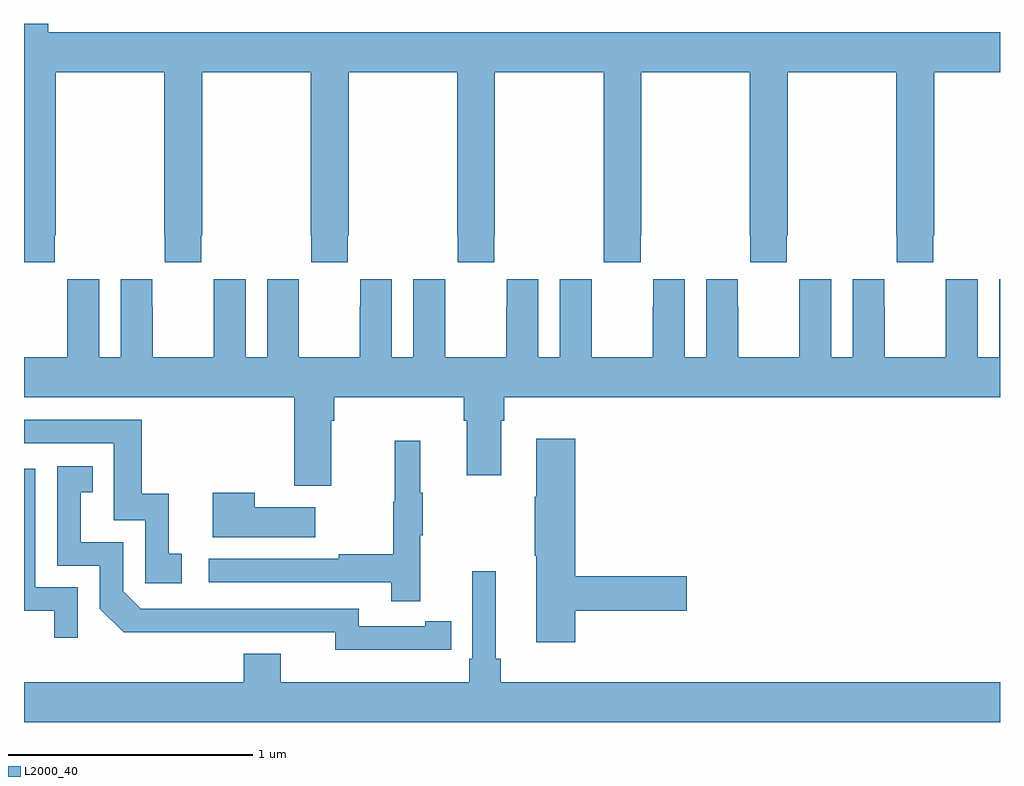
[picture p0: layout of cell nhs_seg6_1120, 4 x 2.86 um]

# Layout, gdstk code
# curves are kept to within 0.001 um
import gdstk
lib = gdstk.Library(unit=1e-6, precision=1e-09)
def P(c, l, *ps):  # polygons
    for p in ps: c.add(gdstk.Polygon(p, *l))
L2000_40 = (2000, 40)

nhs_seg6_1120 = lib.new_cell('nhs_seg6_1120')
P(nhs_seg6_1120, L2000_40, [(179.127,982.633),(179.13,982.633),(179.13,983.3),(179.575,983.3),(179.575,982.633),(179.577,982.633),(179.577,982.521),(179.727,982.521),(179.727,982.633),(179.73,982.633),(179.73,983.3),(180.175,983.3),(180.175,982.633),(180.177,982.633),(180.177,982.521),(180.327,982.521),(180.327,982.633),(180.33,982.633),(180.33,983.3),(180.775,983.3),(180.775,982.633),(180.777,982.633),(180.777,982.521),(180.927,982.521),(180.927,982.633),(180.93,982.633),(180.93,983.3),(181.375,983.3),(181.375,982.633),(181.377,982.633),(181.377,982.521),(181.527,982.521),(181.527,982.633),(181.53,982.633),(181.53,983.3),(181.975,983.3),(181.975,982.633),(181.977,982.633),(181.977,982.521),(182.127,982.521),(182.127,982.633),(182.13,982.633),(182.13,983.3),(182.575,983.3),(182.575,982.633),(182.577,982.633),(182.577,982.521),(182.727,982.521),(182.727,982.633),(182.73,982.633),(182.73,983.3),(183,983.3),(183,983.464),(179.099,983.464),(179.099,983.5),(179,983.5),(179,982.521),(179.127,982.521)],
  [(180.107,981.606),(180.259,981.606),(180.259,981.872),(180.272,981.872),(180.272,981.968),(180.803,981.968),(180.803,981.872),(180.815,981.872),(180.815,981.648),(180.955,981.648),(180.955,981.872),(180.968,981.872),(180.968,981.968),(183,981.968),(183,982.453),(182.996,982.453),(182.996,982.132),(182.908,982.132),(182.908,982.453),(182.778,982.453),(182.778,982.34),(182.777,982.34),(182.777,982.132),(182.527,982.132),(182.527,982.34),(182.526,982.34),(182.526,982.453),(182.396,982.453),(182.396,982.132),(182.308,982.132),(182.308,982.453),(182.178,982.453),(182.178,982.34),(182.177,982.34),(182.177,982.132),(181.927,982.132),(181.927,982.34),(181.926,982.34),(181.926,982.453),(181.796,982.453),(181.796,982.132),(181.708,982.132),(181.708,982.453),(181.578,982.453),(181.578,982.34),(181.577,982.34),(181.577,982.132),(181.327,982.132),(181.327,982.34),(181.326,982.34),(181.326,982.453),(181.196,982.453),(181.196,982.132),(181.108,982.132),(181.108,982.453),(180.978,982.453),(180.978,982.34),(180.977,982.34),(180.977,982.132),(180.727,982.132),(180.727,982.34),(180.726,982.34),(180.726,982.453),(180.596,982.453),(180.596,982.132),(180.508,982.132),(180.508,982.453),(180.378,982.453),(180.378,982.34),(180.377,982.34),(180.377,982.132),(180.127,982.132),(180.127,982.34),(180.126,982.34),(180.126,982.453),(179.996,982.453),(179.996,982.132),(179.908,982.132),(179.908,982.453),(179.778,982.453),(179.778,982.34),(179.777,982.34),(179.777,982.132),(179.527,982.132),(179.527,982.34),(179.526,982.34),(179.526,982.453),(179.396,982.453),(179.396,982.132),(179.308,982.132),(179.308,982.453),(179.178,982.453),(179.178,982.34),(179.177,982.34),(179.177,982.132),(179,982.132),(179,981.968),(180.107,981.968)],
  [(179.647,981.327),(179.594,981.327),(179.594,981.574),(179.483,981.574),(179.483,981.876),(179,981.876),(179,981.78),(179.367,981.78),(179.367,981.465),(179.496,981.465),(179.496,981.207),(179.647,981.207)],
  [(181.259,981.094),(181.717,981.094),(181.717,981.236),(181.259,981.236),(181.259,981.799),(181.1,981.799),(181.1,981.56),(181.093,981.56),(181.093,981.319),(181.1,981.319),(181.1,980.964),(181.259,980.964)],
  [(180.623,981.403),(180.634,981.403),(180.634,981.577),(180.623,981.577),(180.623,981.79),(180.52,981.79),(180.52,981.54),(180.513,981.54),(180.513,981.326),(180.289,981.326),(180.289,981.306),(179.757,981.306),(179.757,981.21),(180.505,981.21),(180.505,981.132),(180.623,981.132)],
  [(180.644,980.934),(180.752,980.934),(180.752,981.05),(180.644,981.05),(180.644,981.03),(180.372,981.03),(180.372,981.102),(179.478,981.102),(179.406,981.174),(179.406,981.375),(179.233,981.375),(179.233,981.579),(179.282,981.579),(179.282,981.685),(179.136,981.685),(179.136,981.279),(179.31,981.279),(179.31,981.102),(179.408,981.005),(180.276,981.006),(180.276,980.933)],
  [(179.22,981.189),(179.046,981.189),(179.046,981.675),(179,981.675),(179,981.093),(179.123,981.093),(179.123,980.982),(179.22,980.982)],
  [(180.193,981.517),(179.945,981.517),(179.945,981.577),(179.774,981.577),(179.774,981.395),(180.193,981.395)],
  [(183,980.8),(180.953,980.8),(180.953,980.896),(180.934,980.896),(180.934,981.256),(180.837,981.256),(180.837,980.896),(180.824,980.896),(180.824,980.8),(180.052,980.8),(180.052,980.917),(179.9,980.917),(179.9,980.8),(179,980.8),(179,980.636),(183,980.636)])

lib.write_gds('nhs_seg6_1120.gds')
